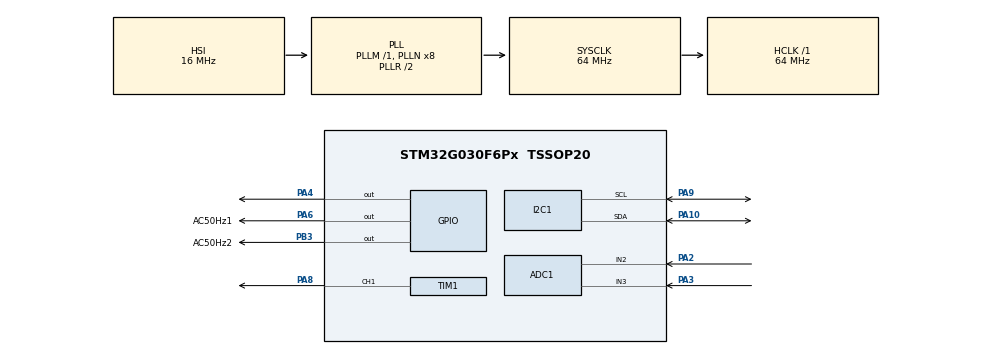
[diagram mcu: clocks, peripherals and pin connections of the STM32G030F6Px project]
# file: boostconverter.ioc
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ADC1.Channel-0\#ChannelRegularConversion=ADC_CHANNEL_2
ADC1.Channel-1\#ChannelRegularConversion=ADC_CHANNEL_3
ADC1.ContinuousConvMode=ENABLE
ADC1.DMAContinuousRequests=DISABLE
ADC1.NbrOfConversion=2
ADC1.NbrOfConversionFlag=1
ADC1.Rank-0\#ChannelRegularConversion=1
ADC1.Rank-1\#ChannelRegularConversion=2
ADC1.SamplingTime-0\#ChannelRegularConversion=ADC_SAMPLINGTIME_COMMON_1
ADC1.SamplingTime-1\#ChannelRegularConversion=ADC_SAMPLINGTIME_COMMON_1
ADC1.SamplingTimeCommon1=ADC_SAMPLETIME_160CYCLES_5
ADC1.SamplingTimeCommon2=ADC_SAMPLETIME_160CYCLES_5
ADC1.SelectedChannel=ADC_CHANNEL_2|ADC_CHANNEL_3
ADC1.master=1
I2C1.Timing=0x10B17DB5
Mcu.Family=STM32G0
Mcu.Name=STM32G030F6Px
Mcu.Package=TSSOP20
NVIC.I2C1_IRQn=true\:0\:0\:false\:false\:true\:true\:true\:true
PA10\ [PA12].Mode=I2C
PA10\ [PA12].Signal=I2C1_SDA
PA13.Mode=Serial_Wire
PA13.Signal=SYS_SWDIO
PA14-BOOT0.Mode=Serial_Wire
PA14-BOOT0.Signal=SYS_SWCLK
PA14-BOOT0__PA15.StandardMode=true
PA2.Mode=IN2
PA2.Signal=ADC1_IN2
PA3.Mode=IN3
PA3.Signal=ADC1_IN3
PA4.Signal=GPIO_Output
PA6.GPIO_Label=AC50Hz1
PA6.Signal=GPIO_Output
PA8.Signal=S_TIM1_CH1
PA9\ [PA11].Mode=I2C
PA9\ [PA11].Signal=I2C1_SCL
PB0__PB1__PB2__PA8.StandardMode=true
PB3.GPIO_Label=AC50Hz2
PB3.Signal=GPIO_Output
PB3__PB4__PB5__PB6.StandardMode=true
PB7__PB8.StandardMode=true
PC14-OSC32_IN\ (PC14)__PB9.StandardMode=true
ProjectManager.HeapSize=0x200
ProjectManager.StackSize=0x400
ProjectManager.TargetToolchain=STM32CubeIDE
RCC.ADCFreq_Value=64000000
RCC.AHBFreq_Value=64000000
RCC.CortexFreq_Value=64000000
RCC.EXTERNAL_CLOCK_VALUE=12288000
RCC.HCLKFreq_Value=64000000
RCC.HSE_VALUE=8000000
RCC.HSI_VALUE=16000000
RCC.LSE_VALUE=32768
RCC.SYSCLKFreq_VALUE=64000000
RCC.SYSCLKSource=RCC_SYSCLKSOURCE_PLLCLK
RCC.VCOOutputFreq_Value=128000000
SH.S_TIM1_CH1.0=TIM1_CH1,PWM Generation1 CH1
TIM1.Break2Filter=10
TIM1.Channel-PWM\ Generation1\ CH1=TIM_CHANNEL_1
TIM1.OCFastMode_PWM-PWM\ Generation1\ CH1=TIM_OCFAST_ENABLE
TIM1.OCIdleState_1=TIM_OCIDLESTATE_RESET
TIM1.OCMode_PWM-PWM\ Generation1\ CH1=TIM_OCMODE_PWM2
TIM1.OCPolarity_1=TIM_OCPOLARITY_HIGH
TIM1.Period=512
TIM1.Prescaler=0
TIM1.Pulse-PWM\ Generation1\ CH1=365
TIM1.RepetitionCounter=5
TIM16.Prescaler=64-1
TIM3.Period=1024
TIM3.Prescaler=0
TIM3.TIM_MasterOutputTrigger=TIM_TRGO_UPDATE
VP_SYS_VS_PINREMAP.Mode=PINREMAP
VP_SYS_VS_PINREMAP_10_12.Mode=PINREMAP_10_12
VP_TIM16_VS_ClockSourceINT.Mode=Enable_Timer
VP_TIM1_VS_ClockSourceINT.Mode=Internal
VP_TIM1_VS_ClockSourceITR.Mode=TriggerSource_ITR2
VP_TIM1_VS_ControllerModeTrigger.Mode=Trigger Mode
VP_TIM1_VS_OPM.Mode=OPM_bit
VP_TIM3_VS_ClockSourceINT.Mode=Internal
board=custom

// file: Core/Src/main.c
/* USER CODE BEGIN Header */
/**
 ******************************************************************************
 * @file           : main.c
 * @brief          : Main program body
 ******************************************************************************
 * @attention
 *
 * Copyright (c) 2025 STMicroelectronics.
 * All rights reserved.
 *
 * This software is licensed under terms that can be found in the LICENSE file
 * in the root directory of this software component.
 * If no LICENSE file comes with this software, it is provided AS-IS.
 *
 ******************************************************************************
 */
/* USER CODE END Header */
#include "main.h"
#include "adc.h"
#include "i2c.h"
#include "tim.h"
#include "gpio.h"

/* USER CODE BEGIN PD */
#define DEADTIME_US            2500U
#define HALF_CYCLE_US          (10000U - DEADTIME_US)
/* USER CODE END PD */

/* USER CODE BEGIN PV */
typedef struct __attribute__((packed)){
	uint8_t  startByte;//253
	uint8_t  dataLenth;
	uint8_t  volt;
	uint8_t  cmd;
	uint8_t end_byte;
}channel_t;

typedef union __attribute__((packed)){
	channel_t data;
	uint8_t buffer[sizeof(channel_t)];
}u_channel_t;

u_channel_t rx_channel;
u_channel_t tx_channel;
/* USER CODE END PV */

void SystemClock_Config(void);
/* USER CODE BEGIN PFP */
void us50Hzgen(void);
/* USER CODE END PFP */

/* USER CODE BEGIN 0 */
#define ADC_BUF_LEN 1
uint16_t adc_buf[ADC_BUF_LEN];
uint16_t new_pulse_value=700;
uint16_t pre_pulse_value;
uint16_t i,pulseSeq;
uint32_t timertiks,leddelay;
uint8_t resiveflag;
uint16_t adc_ch1 = 0;
uint16_t adc_ch2 = 0;

void Update_TIM3_Period(uint32_t new_period);
void delay_us (uint16_t us);
void ADC_ReadChannels(void);

typedef struct
{
	uint16_t volt;
	uint16_t period;
	uint16_t pulse;
} BoostCal_t;

const BoostCal_t BoostTable[] =
{
		{10, 600, 120},
		{20, 600, 140},
		{30, 600, 177},
		{40, 600, 220},
		{50, 600, 240},
		{60, 635, 280},
		{70, 670, 360},
		{80, 800, 380},
		{90, 800, 393},
		{100,800, 460}
};

#define BOOST_TABLE_SIZE (sizeof(BoostTable)/sizeof(BoostTable[0]))
void Boost_SetVoltage(uint8_t voltage);
/* USER CODE END 0 */

int main(void)
{

	/* MCU Configuration--------------------------------------------------------*/

	/* Reset of all peripherals, Initializes the Flash interface and the Systick. */
	HAL_Init();

	/* Configure the system clock */
	SystemClock_Config();

	/* Initialize all configured peripherals */
	MX_GPIO_Init();
	MX_TIM1_Init();
	MX_TIM3_Init();
	MX_ADC1_Init();
	MX_TIM16_Init();
	MX_I2C1_Init();
	/* USER CODE BEGIN 2 */
	HAL_GPIO_WritePin(AC50Hz1_GPIO_Port, AC50Hz1_Pin, GPIO_PIN_RESET);
	HAL_GPIO_WritePin(AC50Hz2_GPIO_Port, AC50Hz2_Pin, GPIO_PIN_RESET);

	hi2c1.Init.OwnAddress1 = (0x26<< 1);
	hi2c1.Init.AddressingMode = I2C_ADDRESSINGMODE_7BIT;
	HAL_I2C_Init(&hi2c1);

	HAL_TIM_Base_Start(&htim3);               // Start TIM3 to generate TRGO
	Update_TIM3_Period(0);
	HAL_TIM_OnePulse_Start(&htim1, TIM_CHANNEL_1); // Arm TIM1 for one pulse
	//	HAL_TIM_PWM_Start(&htim1, TIM_CHANNEL_1);
	__HAL_TIM_SET_COMPARE(&htim1, TIM_CHANNEL_1, i);
	HAL_TIM_Base_Start(&htim16);
	HAL_Delay(1500);
	HAL_I2C_Slave_Receive_IT(&hi2c1,rx_channel.buffer,sizeof(rx_channel.buffer));
	timertiks=HAL_GetTick();
	leddelay=HAL_GetTick();
	/* USER CODE END 2 */

	/* Infinite loop */
	/* USER CODE BEGIN WHILE */
	while (1)
	{
		ADC_ReadChannels();
		tx_channel.data.volt= ((float)adc_ch2 * 100.0f) / 3220.0f;

		tx_channel.data.startByte= 253;
		tx_channel.data.end_byte= 254;
		tx_channel.data.dataLenth= 2;

		if(pulseSeq!=0)
		{
			us50Hzgen();
		}
		else
		{
			HAL_GPIO_WritePin(AC50Hz1_GPIO_Port, AC50Hz1_Pin, GPIO_PIN_RESET);
			HAL_GPIO_WritePin(AC50Hz2_GPIO_Port, AC50Hz2_Pin, GPIO_PIN_RESET);
			tx_channel.data.cmd= 0;
		}

		if((HAL_GetTick()-leddelay)>=200)
		{
			leddelay=HAL_GetTick();
			if(resiveflag==1)
			{
				resiveflag=0;
				timertiks=HAL_GetTick();
				HAL_GPIO_TogglePin(GPIOA, GPIO_PIN_4);
			}
		}
		if(rx_channel.data.cmd==1)
		{
			pulseSeq=rx_channel.data.volt;
			tx_channel.data.cmd=1;
		}
		else
		{
			pulseSeq=0;
			tx_channel.data.cmd= 0;
		}
		if((HAL_GetTick()-timertiks)>=5000)
		{
			pulseSeq=0;
			tx_channel.data.cmd= 0;
			timertiks=HAL_GetTick();
		    HAL_I2C_DeInit(&hi2c1);
		    __HAL_I2C_CLEAR_FLAG(&hi2c1, I2C_FLAG_BERR);
		    __HAL_I2C_CLEAR_FLAG(&hi2c1, I2C_FLAG_ARLO);
		    __HAL_I2C_CLEAR_FLAG(&hi2c1, I2C_FLAG_OVR);
		    __HAL_I2C_CLEAR_FLAG(&hi2c1, I2C_FLAG_STOPF);
		    __HAL_I2C_CLEAR_FLAG(&hi2c1, I2C_FLAG_AF);
		    HAL_I2C_Init(&hi2c1);
			HAL_I2C_Slave_Receive_IT(&hi2c1,rx_channel.buffer,sizeof(rx_channel.buffer));
		}
		Boost_SetVoltage(pulseSeq);

		/* USER CODE END WHILE */

	}
}

void SystemClock_Config(void)
{
	RCC_OscInitTypeDef RCC_OscInitStruct = {0};
	RCC_ClkInitTypeDef RCC_ClkInitStruct = {0};

	/** Configure the main internal regulator output voltage
	 */
	HAL_PWREx_ControlVoltageScaling(PWR_REGULATOR_VOLTAGE_SCALE1);

	/** Initializes the RCC Oscillators according to the specified parameters
	 * in the RCC_OscInitTypeDef structure.
	 */
	RCC_OscInitStruct.OscillatorType = RCC_OSCILLATORTYPE_HSI;
	RCC_OscInitStruct.HSIState = RCC_HSI_ON;
	RCC_OscInitStruct.HSIDiv = RCC_HSI_DIV1;
	RCC_OscInitStruct.HSICalibrationValue = RCC_HSICALIBRATION_DEFAULT;
	RCC_OscInitStruct.PLL.PLLState = RCC_PLL_ON;
	RCC_OscInitStruct.PLL.PLLSource = RCC_PLLSOURCE_HSI;
	RCC_OscInitStruct.PLL.PLLM = RCC_PLLM_DIV1;
	RCC_OscInitStruct.PLL.PLLN = 8;
	RCC_OscInitStruct.PLL.PLLP = RCC_PLLP_DIV2;
	RCC_OscInitStruct.PLL.PLLR = RCC_PLLR_DIV2;
	if (HAL_RCC_OscConfig(&RCC_OscInitStruct) != HAL_OK)
	{
		Error_Handler();
	}

	/** Initializes the CPU, AHB and APB buses clocks
	 */
	RCC_ClkInitStruct.ClockType = RCC_CLOCKTYPE_HCLK|RCC_CLOCKTYPE_SYSCLK
			|RCC_CLOCKTYPE_PCLK1;
	RCC_ClkInitStruct.SYSCLKSource = RCC_SYSCLKSOURCE_PLLCLK;
	RCC_ClkInitStruct.AHBCLKDivider = RCC_SYSCLK_DIV1;
	RCC_ClkInitStruct.APB1CLKDivider = RCC_HCLK_DIV1;

	if (HAL_RCC_ClockConfig(&RCC_ClkInitStruct, FLASH_LATENCY_2) != HAL_OK)
	{
		Error_Handler();
	}
}

/* USER CODE BEGIN 4 */
void us50Hzgen(void)
{
	HAL_GPIO_WritePin(AC50Hz1_GPIO_Port, AC50Hz1_Pin, GPIO_PIN_RESET);
	delay_us(DEADTIME_US);

	HAL_GPIO_WritePin(AC50Hz2_GPIO_Port, AC50Hz2_Pin, GPIO_PIN_SET);
	delay_us(HALF_CYCLE_US);

	HAL_GPIO_WritePin(AC50Hz2_GPIO_Port, AC50Hz2_Pin, GPIO_PIN_RESET);
	delay_us(DEADTIME_US);

	HAL_GPIO_WritePin(AC50Hz1_GPIO_Port, AC50Hz1_Pin, GPIO_PIN_SET);
	delay_us(HALF_CYCLE_US);
}
void Update_TIM3_Period(uint32_t new_period)
{
	__HAL_TIM_SET_AUTORELOAD(&htim3, new_period);
	__HAL_TIM_SET_COUNTER(&htim3, 0);
	HAL_TIM_GenerateEvent(&htim3, TIM_EVENTSOURCE_UPDATE);
}
void delay_us (uint16_t us)
{
	__HAL_TIM_SET_COUNTER(&htim16,0);  // set the counter value a 0
	while (__HAL_TIM_GET_COUNTER(&htim16) < us);  // wait for the counter to reach the us input in the parameter
}

void ADC_ReadChannels(void)
{
	HAL_ADC_Start(&hadc1);

	// Read Channel 1 (Rank 1)
	if(HAL_ADC_PollForConversion(&hadc1, 10) == HAL_OK)
	{
		adc_ch1 = HAL_ADC_GetValue(&hadc1);
	}

	// Read Channel 2 (Rank 2)
	if(HAL_ADC_PollForConversion(&hadc1, 10) == HAL_OK)
	{
		adc_ch2 = HAL_ADC_GetValue(&hadc1);
	}

	HAL_ADC_Stop(&hadc1);
}
void HAL_I2C_SlaveRxCpltCallback(I2C_HandleTypeDef *hi2c)
{
	if(hi2c->Instance == I2C1)
	{
		if(rx_channel.data.startByte == 253 &&rx_channel.data.end_byte == 254)
		{
			uint8_t voltage = rx_channel.data.volt;

			uint8_t cmd = rx_channel.data.cmd;
			resiveflag=1;
			// Process the received data here
		}
//		HAL_I2C_Slave_Receive_IT(hi2c,rx_channel.buffer,sizeof(rx_channel.buffer));
        HAL_I2C_Slave_Transmit_IT(hi2c,tx_channel.buffer,sizeof(tx_channel.buffer));

	}
}
void HAL_I2C_SlaveTxCpltCallback(I2C_HandleTypeDef *hi2c)
{
    if (hi2c->Instance == I2C1)
    {
        HAL_I2C_Slave_Receive_IT(hi2c,rx_channel.buffer,sizeof(rx_channel.buffer));
    }
}
void HAL_I2C_ErrorCallback(I2C_HandleTypeDef *hi2c)
{
    if (hi2c->Instance == I2C1)
    {
        HAL_I2C_DeInit(&hi2c1);
        HAL_I2C_Init(&hi2c1);
        HAL_I2C_Slave_Receive_IT(hi2c,
                                 rx_channel.buffer,
                                 sizeof(rx_channel.buffer));
    }
}
void Boost_SetVoltage(uint8_t voltage)
{
	if(voltage==0)
	{
		HAL_GPIO_WritePin(AC50Hz1_GPIO_Port, AC50Hz1_Pin, GPIO_PIN_RESET);
		HAL_GPIO_WritePin(AC50Hz2_GPIO_Port, AC50Hz2_Pin, GPIO_PIN_RESET);
	}
	if(voltage < 10) voltage = 10;
	if(voltage > 100) voltage = 100;

	uint8_t index = (voltage - 10) / 10;

	if(index >= 9)
	{
		Update_TIM3_Period(BoostTable[9].period);
		__HAL_TIM_SET_COMPARE(&htim1, TIM_CHANNEL_1, BoostTable[9].pulse);
		return;
	}

	uint8_t rem = (voltage - BoostTable[index].volt);

	uint16_t period =
			BoostTable[index].period +
			(rem * (BoostTable[index+1].period - BoostTable[index].period)) / 10;

	uint16_t pulse =
			BoostTable[index].pulse +
			(rem * (BoostTable[index+1].pulse - BoostTable[index].pulse)) / 10;

	Update_TIM3_Period(period);
	__HAL_TIM_SET_COMPARE(&htim1, TIM_CHANNEL_1, pulse);
}
/* USER CODE END 4 */

void Error_Handler(void)
{
	__disable_irq();
	while (1)
	{
	}
}
